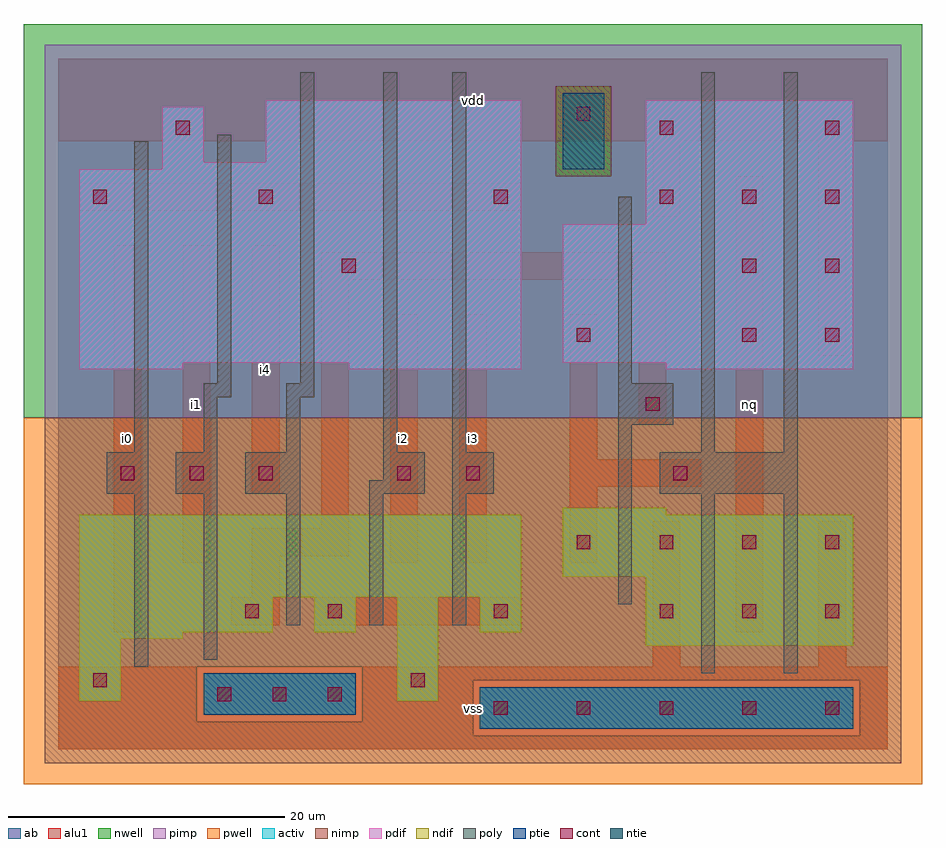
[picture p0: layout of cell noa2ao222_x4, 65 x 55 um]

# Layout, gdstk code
import gdstk
lib = gdstk.Library(unit=1e-6, precision=1e-09)
def R(c, l, rs):  # rectangles x0, y0, x1, y1
    for r in rs: c.add(gdstk.rectangle(r[:2], r[2:], *l))
def A(c, l, x, y, w, h, nx, ny, dx, dy):  # array of equal rectangles
    R(c, l, [(x+i*dx, y+j*dy, x+i*dx+w, y+j*dy+h) for i in range(nx) for j in range(ny)])
ndif = (3, 0)
pdif = (4, 0)
ntie = (5, 0)
ptie = (6, 0)
cont = (25, 0)
pwell = (41, 0)
nwell = (42, 0)
activ = (43, 0)
pimp = (44, 0)
nimp = (45, 0)
poly = (46, 0)
alu1 = (49, 0)
ab = (63, 0)

noa2ao222_x4 = lib.new_cell('noa2ao222_x4')
R(noa2ao222_x4, ndif, [(1.5,3.5,4.5,8), (24.5,3.5,27.5,11), (42.5,7.5,57.5,12.5), (1.5,8,9,8.5), (1.5,8.5,15.5,11), (18.5,8.5,21.5,11), (30.5,8.5,33.5,11), (1.5,11,33.5,17), (36.5,12.5,57.5,17), (36.5,17,44,17.5)])
R(noa2ao222_x4, pdif, [(1.5,27.5,9,28), (21,27.5,33.5,28), (44,27.5,57.5,28), (1.5,28,33.5,42), (36.5,28,57.5,38), (42.5,38,57.5,47), (7.5,42,33.5,42.5), (7.5,42.5,10.5,46.5), (15,42.5,33.5,47)])
R(noa2ao222_x4, ntie, [(36.5,42,39.5,47.5)])
R(noa2ao222_x4, ptie, [(30.5,1.5,57.5,4.5), (10.5,2.5,21.5,5.5)])
A(noa2ao222_x4, cont, 31.5, 2.5, 1, 1, 5, 1, 6, 0)
A(noa2ao222_x4, cont, 11.5, 3.5, 1, 1, 3, 1, 4, 0)
A(noa2ao222_x4, cont, 19.5, 9.5, 1, 1, 3, 1, 12, 0)
A(noa2ao222_x4, cont, 37.5, 14.5, 1, 1, 4, 1, 6, 0)
A(noa2ao222_x4, cont, 4.5, 19.5, 1, 1, 3, 1, 5, 0)
A(noa2ao222_x4, cont, 43.5, 39.5, 1, 1, 3, 1, 6, 0)
R(noa2ao222_x4, cont, [(2.5,4.5,3.5,5.5), (25.5,4.5,26.5,5.5), (13.5,9.5,14.5,10.5), (49.5,9.5,50.5,10.5), (55.5,9.5,56.5,10.5), (24.5,19.5,25.5,20.5), (29.5,19.5,30.5,20.5), (44.5,19.5,45.5,20.5), (42.5,24.5,43.5,25.5), (37.5,29.5,38.5,30.5), (49.5,29.5,50.5,30.5), (55.5,29.5,56.5,30.5), (20.5,34.5,21.5,35.5), (49.5,34.5,50.5,35.5), (55.5,34.5,56.5,35.5), (2.5,39.5,3.5,40.5), (14.5,39.5,15.5,40.5), (31.5,39.5,32.5,40.5), (8.5,44.5,9.5,45.5), (43.5,44.5,44.5,45.5), (55.5,44.5,56.5,45.5), (37.5,45.5,38.5,46.5)])
R(noa2ao222_x4, pwell, [(-2.5,-2.5,62.5,24)])
R(noa2ao222_x4, nwell, [(-2.5,24,62.5,52.5)])
R(noa2ao222_x4, activ, [(30.5,1.5,57.5,4.5), (10.5,2.5,21.5,5.5), (1.5,3.5,4.5,8), (24.5,3.5,27.5,11), (42.5,7.5,57.5,12.5), (1.5,8,9,8.5), (1.5,8.5,15.5,11), (18.5,8.5,21.5,11), (30.5,8.5,33.5,11), (1.5,11,33.5,17), (36.5,12.5,57.5,17), (36.5,17,44,17.5), (1.5,27.5,9,28), (21,27.5,33.5,28), (44,27.5,57.5,28), (1.5,28,33.5,42), (36.5,28,57.5,38), (42.5,38,57.5,47), (7.5,42,33.5,42.5), (36.5,42,39.5,47.5), (7.5,42.5,10.5,46.5), (15,42.5,33.5,47)])
R(noa2ao222_x4, pimp, [(30,1,58,5), (10,2,22,6), (-1,24,61,41.5), (-1,41.5,36,48), (40,41.5,61,48), (-1,48,61,51)])
R(noa2ao222_x4, nimp, [(-1,-1,61,1), (-1,1,30,2), (58,1,61,5), (-1,2,10,6), (22,2,30,5), (22,5,61,6), (-1,6,61,24), (36,41.5,40,48)])
A(noa2ao222_x4, poly, 16.5, 9, 1, 9.5, 3, 1, 6, 0)
R(noa2ao222_x4, poly, [(46.5,5.5,47.5,18.5), (52.5,5.5,53.5,18.5), (5.5,6,6.5,18.5), (10.5,6.5,11.5,18.5), (40.5,10.5,41.5,23.5), (3.5,18.5,6.5,21.5), (8.5,18.5,11.5,21.5), (13.5,18.5,17.5,21.5), (22.5,18.5,26.5,19.5), (28.5,18.5,31.5,21.5), (43.5,18.5,53.5,21.5), (23.5,19.5,26.5,21.5), (5.5,21.5,6.5,44), (10.5,21.5,11.5,25.5), (16.5,21.5,17.5,25.5), (23.5,21.5,24.5,49), (28.5,21.5,29.5,49), (46.5,21.5,47.5,49), (52.5,21.5,53.5,49), (40.5,23.5,44.5,26.5), (10.5,25.5,12.5,26.5), (16.5,25.5,18.5,26.5), (11.5,26.5,12.5,44.5), (17.5,26.5,18.5,49), (40.5,26.5,41.5,40)])
R(noa2ao222_x4, alu1, [(0,0,60,6), (0,0,60,6), (43,6,45,16.5), (43,6,45,16.5), (55,6,57,16.5), (55,6,57,16.5), (4,8.5,6,36.5), (4,8.5,6,36.5), (49,8.5,51,41.5), (49,8.5,51,41.5), (12.5,9,16,11), (12.5,9,16,11), (18.5,9,33.5,11), (18.5,9,33.5,11), (14,11,16,14), (14,11,16,14), (9,13.5,11,36.5), (9,13.5,11,36.5), (24,13.5,26,31.5), (24,13.5,26,31.5), (29,13.5,31,31.5), (29,13.5,31,31.5), (37,13.5,39,19), (37,13.5,39,19), (14,14,21,16), (14,14,21,16), (19,16,21,34), (19,16,21,34), (14,18.5,16,36.5), (14,18.5,16,36.5), (37,19,46.5,21), (37,19,46.5,21), (37,21,39,31.5), (37,21,39,31.5), (42,23.5,44,34), (42,23.5,44,34), (55,28.5,57,44), (55,28.5,57,44), (19,34,44,36), (19,34,44,36), (43,38.5,45,44), (43,38.5,45,44), (1.5,39,33.5,41), (1.5,39,33.5,41), (0,44,60,50), (0,44,60,50)])
R(noa2ao222_x4, ab, [(0,0,60,50)])
noa2ao222_x4.add(gdstk.Label('i0', (5,22.5), layer=49, texttype=0))
noa2ao222_x4.add(gdstk.Label('i1', (10,25), layer=49, texttype=0))
noa2ao222_x4.add(gdstk.Label('i2', (25,22.5), layer=49, texttype=0))
noa2ao222_x4.add(gdstk.Label('i4', (15,27.5), layer=49, texttype=0))
noa2ao222_x4.add(gdstk.Label('vss', (30,3), layer=49, texttype=0))
noa2ao222_x4.add(gdstk.Label('i3', (30,22.5), layer=49, texttype=0))
noa2ao222_x4.add(gdstk.Label('vdd', (30,47), layer=49, texttype=0))
noa2ao222_x4.add(gdstk.Label('nq', (50,25), layer=49, texttype=0))

lib.write_gds('noa2ao222_x4.gds')
